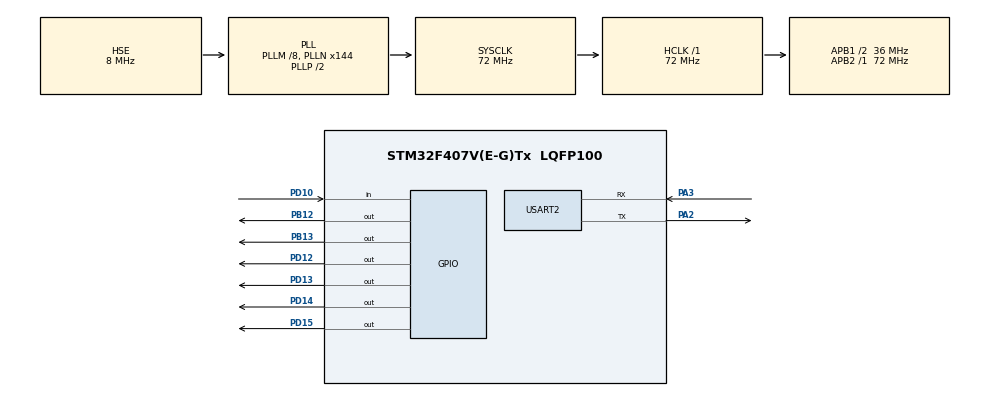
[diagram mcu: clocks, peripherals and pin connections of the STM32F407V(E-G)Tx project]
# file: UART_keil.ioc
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Dma.Request0=USART2_RX
Dma.USART2_RX.0.Direction=DMA_PERIPH_TO_MEMORY
Dma.USART2_RX.0.FIFOMode=DMA_FIFOMODE_DISABLE
Dma.USART2_RX.0.Instance=DMA1_Stream5
Dma.USART2_RX.0.MemDataAlignment=DMA_MDATAALIGN_BYTE
Dma.USART2_RX.0.MemInc=DMA_MINC_ENABLE
Dma.USART2_RX.0.Mode=DMA_NORMAL
Dma.USART2_RX.0.PeriphDataAlignment=DMA_PDATAALIGN_BYTE
Dma.USART2_RX.0.PeriphInc=DMA_PINC_DISABLE
Dma.USART2_RX.0.Priority=DMA_PRIORITY_LOW
Mcu.Family=STM32F4
Mcu.Name=STM32F407V(E-G)Tx
Mcu.Package=LQFP100
NVIC.DMA1_Stream5_IRQn=true\:0\:0\:false\:false\:true\:false\:true
NVIC.PriorityGroup=NVIC_PRIORITYGROUP_4
NVIC.USART2_IRQn=true\:0\:0\:false\:false\:true\:true\:true
PA13.Mode=Serial_Wire
PA13.Signal=SYS_JTMS-SWDIO
PA14.Mode=Serial_Wire
PA14.Signal=SYS_JTCK-SWCLK
PA2.Mode=Asynchronous
PA2.Signal=USART2_TX
PA3.Mode=Asynchronous
PA3.Signal=USART2_RX
PB12.Signal=GPIO_Output
PB13.Signal=GPIO_Output
PD10.GPIO_PuPd=GPIO_PULLDOWN
PD10.Signal=GPIO_Input
PD12.Signal=GPIO_Output
PD13.Signal=GPIO_Output
PD14.Signal=GPIO_Output
PD15.Signal=GPIO_Output
PH0-OSC_IN.Mode=HSE-External-Oscillator
PH0-OSC_IN.Signal=RCC_OSC_IN
PH1-OSC_OUT.Mode=HSE-External-Oscillator
PH1-OSC_OUT.Signal=RCC_OSC_OUT
ProjectManager.HeapSize=0x200
ProjectManager.StackSize=0x400
ProjectManager.TargetToolchain=MDK-ARM V5.27
RCC.48MHZClocksFreq_Value=36000000
RCC.AHBFreq_Value=72000000
RCC.APB1CLKDivider=RCC_HCLK_DIV2
RCC.APB1Freq_Value=36000000
RCC.APB1TimFreq_Value=72000000
RCC.APB2Freq_Value=72000000
RCC.APB2TimFreq_Value=72000000
RCC.CortexFreq_Value=72000000
RCC.HCLKFreq_Value=72000000
RCC.HSE_VALUE=8000000
RCC.HSI_VALUE=16000000
RCC.LSE_VALUE=32768
RCC.PLLM=8
RCC.PLLN=144
RCC.PLLSourceVirtual=RCC_PLLSOURCE_HSE
RCC.SYSCLKFreq_VALUE=72000000
RCC.SYSCLKSource=RCC_SYSCLKSOURCE_PLLCLK
RCC.VCOOutputFreq_Value=144000000
USART2.VirtualMode=VM_ASYNC
board=custom

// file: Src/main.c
/* USER CODE BEGIN Header */
/**
  ******************************************************************************
  * @file           : main.c
  * @brief          : Main program body
  ******************************************************************************
  * @attention
  *
  * <h2><center>&copy; Copyright (c) 2020 STMicroelectronics.
  * All rights reserved.</center></h2>
  *
  * This software component is licensed by ST under BSD 3-Clause license,
  * the "License"; You may not use this file except in compliance with the
  * License. You may obtain a copy of the License at:
  *                        opensource.org/licenses/BSD-3-Clause
  *
  ******************************************************************************
  */
/* USER CODE END Header */

#include "main.h"

/* USER CODE BEGIN Includes */
#include <string.h>
#include "inttypes.h"

/* USER CODE END Includes */

UART_HandleTypeDef huart2;
DMA_HandleTypeDef hdma_usart2_rx;

/* USER CODE BEGIN PV */
char RX1_Char[1] = "0";

/* USER CODE END PV */

void SystemClock_Config(void);
static void MX_GPIO_Init(void);
static void MX_DMA_Init(void);
static void MX_USART2_UART_Init(void);

/* USER CODE BEGIN 0 */
char rxData[30];

/* USER CODE END 0 */

int main(void)
{

  /* MCU Configuration--------------------------------------------------------*/

  /* Reset of all peripherals, Initializes the Flash interface and the Systick. */
  HAL_Init();

  /* Configure the system clock */
  SystemClock_Config();

  /* Initialize all configured peripherals */
  MX_GPIO_Init();
  MX_DMA_Init();
  MX_USART2_UART_Init();
  /* USER CODE BEGIN 2 */

	char txData[30]="STATE: MARABA\r\n";
	char txData1[30]="STATE: YOK MORUK\r\n";

  /* USER CODE END 2 */

  /* Infinite loop */
  while (1)
  {

    /* USER CODE BEGIN 3 */
		HAL_UART_Receive_DMA(&huart2, (uint8_t *)RX1_Char, 1);

		if(strcmp(RX1_Char, "1") == 0){
			HAL_GPIO_TogglePin(GPIOB, GPIO_PIN_12);
			HAL_UART_Receive_DMA(&huart2, (uint8_t *)RX1_Char, 1);
			*RX1_Char = '\0';
		}
			if(strcmp(RX1_Char, "2") == 0){
			HAL_GPIO_TogglePin(GPIOB, GPIO_PIN_13);
			HAL_UART_Receive_DMA(&huart2, (uint8_t *)RX1_Char, 1);
			*RX1_Char = '\0';
		}

  }
  /* USER CODE END 3 */
}

void SystemClock_Config(void)
{
  RCC_OscInitTypeDef RCC_OscInitStruct = {0};
  RCC_ClkInitTypeDef RCC_ClkInitStruct = {0};

  /** Configure the main internal regulator output voltage
  */
  __HAL_RCC_PWR_CLK_ENABLE();
  __HAL_PWR_VOLTAGESCALING_CONFIG(PWR_REGULATOR_VOLTAGE_SCALE1);
  /** Initializes the CPU, AHB and APB busses clocks
  */
  RCC_OscInitStruct.OscillatorType = RCC_OSCILLATORTYPE_HSE;
  RCC_OscInitStruct.HSEState = RCC_HSE_ON;
  RCC_OscInitStruct.PLL.PLLState = RCC_PLL_ON;
  RCC_OscInitStruct.PLL.PLLSource = RCC_PLLSOURCE_HSE;
  RCC_OscInitStruct.PLL.PLLM = 8;
  RCC_OscInitStruct.PLL.PLLN = 144;
  RCC_OscInitStruct.PLL.PLLP = RCC_PLLP_DIV2;
  RCC_OscInitStruct.PLL.PLLQ = 4;
  if (HAL_RCC_OscConfig(&RCC_OscInitStruct) != HAL_OK)
  {
    Error_Handler();
  }
  /** Initializes the CPU, AHB and APB busses clocks
  */
  RCC_ClkInitStruct.ClockType = RCC_CLOCKTYPE_HCLK|RCC_CLOCKTYPE_SYSCLK
                              |RCC_CLOCKTYPE_PCLK1|RCC_CLOCKTYPE_PCLK2;
  RCC_ClkInitStruct.SYSCLKSource = RCC_SYSCLKSOURCE_PLLCLK;
  RCC_ClkInitStruct.AHBCLKDivider = RCC_SYSCLK_DIV1;
  RCC_ClkInitStruct.APB1CLKDivider = RCC_HCLK_DIV2;
  RCC_ClkInitStruct.APB2CLKDivider = RCC_HCLK_DIV1;

  if (HAL_RCC_ClockConfig(&RCC_ClkInitStruct, FLASH_LATENCY_2) != HAL_OK)
  {
    Error_Handler();
  }
}

static void MX_USART2_UART_Init(void)
{

  huart2.Instance = USART2;
  huart2.Init.BaudRate = 115200;
  huart2.Init.WordLength = UART_WORDLENGTH_8B;
  huart2.Init.StopBits = UART_STOPBITS_1;
  huart2.Init.Parity = UART_PARITY_NONE;
  huart2.Init.Mode = UART_MODE_TX_RX;
  huart2.Init.HwFlowCtl = UART_HWCONTROL_NONE;
  huart2.Init.OverSampling = UART_OVERSAMPLING_16;
  if (HAL_UART_Init(&huart2) != HAL_OK)
  {
    Error_Handler();
  }

}

static void MX_DMA_Init(void)
{

  /* DMA controller clock enable */
  __HAL_RCC_DMA1_CLK_ENABLE();

  /* DMA interrupt init */
  /* DMA1_Stream5_IRQn interrupt configuration */
  HAL_NVIC_SetPriority(DMA1_Stream5_IRQn, 0, 0);
  HAL_NVIC_EnableIRQ(DMA1_Stream5_IRQn);

}

static void MX_GPIO_Init(void)
{
  GPIO_InitTypeDef GPIO_InitStruct = {0};

  /* GPIO Ports Clock Enable */
  __HAL_RCC_GPIOH_CLK_ENABLE();
  __HAL_RCC_GPIOA_CLK_ENABLE();
  __HAL_RCC_GPIOB_CLK_ENABLE();
  __HAL_RCC_GPIOD_CLK_ENABLE();

  /*Configure GPIO pin Output Level */
  HAL_GPIO_WritePin(GPIOB, GPIO_PIN_12|GPIO_PIN_13, GPIO_PIN_RESET);

  /*Configure GPIO pin Output Level */
  HAL_GPIO_WritePin(GPIOD, GPIO_PIN_12|GPIO_PIN_13|GPIO_PIN_14|GPIO_PIN_15, GPIO_PIN_RESET);

  /*Configure GPIO pins : PB12 PB13 */
  GPIO_InitStruct.Pin = GPIO_PIN_12|GPIO_PIN_13;
  GPIO_InitStruct.Mode = GPIO_MODE_OUTPUT_PP;
  GPIO_InitStruct.Pull = GPIO_NOPULL;
  GPIO_InitStruct.Speed = GPIO_SPEED_FREQ_LOW;
  HAL_GPIO_Init(GPIOB, &GPIO_InitStruct);

  /*Configure GPIO pin : PD10 */
  GPIO_InitStruct.Pin = GPIO_PIN_10;
  GPIO_InitStruct.Mode = GPIO_MODE_INPUT;
  GPIO_InitStruct.Pull = GPIO_PULLDOWN;
  HAL_GPIO_Init(GPIOD, &GPIO_InitStruct);

  /*Configure GPIO pins : PD12 PD13 PD14 PD15 */
  GPIO_InitStruct.Pin = GPIO_PIN_12|GPIO_PIN_13|GPIO_PIN_14|GPIO_PIN_15;
  GPIO_InitStruct.Mode = GPIO_MODE_OUTPUT_PP;
  GPIO_InitStruct.Pull = GPIO_NOPULL;
  GPIO_InitStruct.Speed = GPIO_SPEED_FREQ_LOW;
  HAL_GPIO_Init(GPIOD, &GPIO_InitStruct);

}

/* USER CODE BEGIN 4 */
void HAL_UART_RxCpltCallback(UART_HandleTypeDef *huart)
{
  /* Prevent unused argument(s) compilation warning */
  UNUSED(huart);
	HAL_UART_Transmit(&huart2, (uint8_t *)RX1_Char, strlen(RX1_Char), 1);

	/*if(strcmp(rxData,"1"))
		{
		HAL_GPIO_TogglePin(GPIOD, GPIO_PIN_14);
		HAL_Delay(500);

		}
		else if(strcmp(rxData,"2"))
		{
		HAL_GPIO_TogglePin(GPIOD, GPIO_PIN_13);
		HAL_Delay(500);

		}
		HAL_Delay(100);
	*/
  /* NOTE: This function should not be modified, when the callback is needed,
           the HAL_UART_RxCpltCallback could be implemented in the user file
   */

}

/* USER CODE END 4 */

void Error_Handler(void)
{
}

/************************ (C) COPYRIGHT STMicroelectronics *****END OF FILE****/
